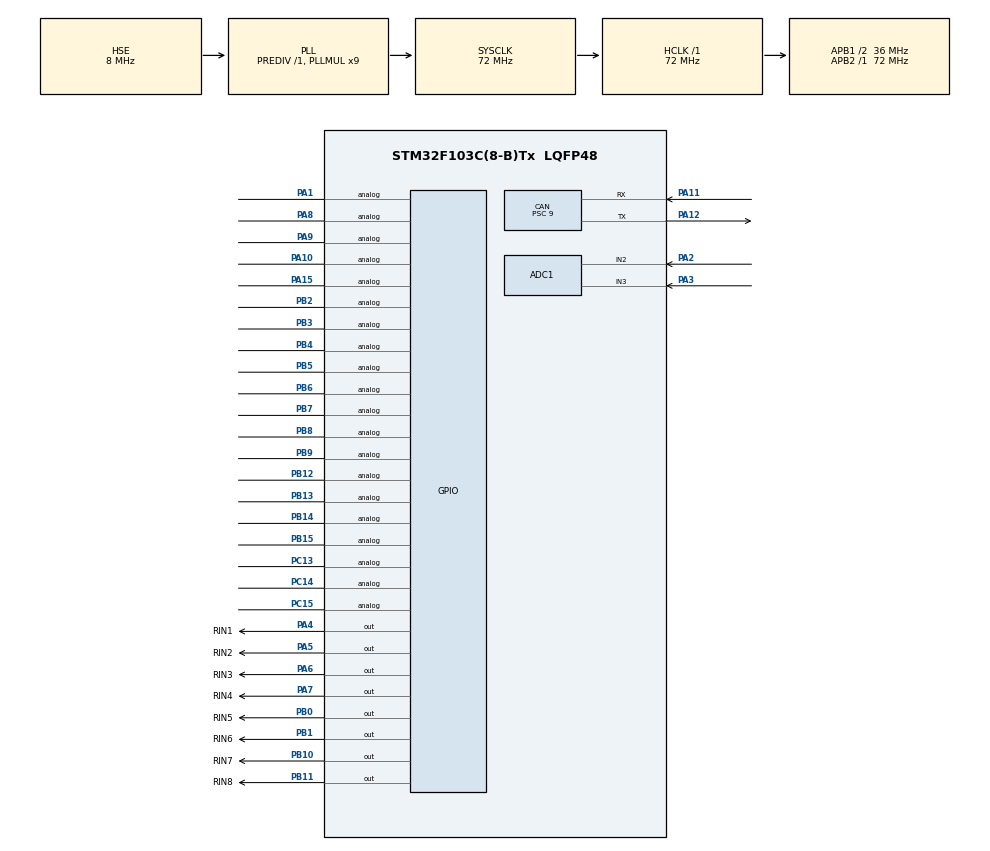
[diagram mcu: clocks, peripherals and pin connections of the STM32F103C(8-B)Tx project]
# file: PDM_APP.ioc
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ADC1.Channel-0\#ChannelRegularConversion=ADC_CHANNEL_2
ADC1.Channel-1\#ChannelRegularConversion=ADC_CHANNEL_3
ADC1.Channel-2\#ChannelRegularConversion=ADC_CHANNEL_TEMPSENSOR
ADC1.Channel-3\#ChannelRegularConversion=ADC_CHANNEL_VREFINT
ADC1.ContinuousConvMode=ENABLE
ADC1.EnableAnalogWatchDog=false
ADC1.NbrOfConversion=4
ADC1.NbrOfConversionFlag=1
ADC1.Rank-0\#ChannelRegularConversion=1
ADC1.Rank-1\#ChannelRegularConversion=2
ADC1.Rank-2\#ChannelRegularConversion=3
ADC1.Rank-3\#ChannelRegularConversion=4
ADC1.SamplingTime-0\#ChannelRegularConversion=ADC_SAMPLETIME_239CYCLES_5
ADC1.SamplingTime-1\#ChannelRegularConversion=ADC_SAMPLETIME_239CYCLES_5
ADC1.SamplingTime-2\#ChannelRegularConversion=ADC_SAMPLETIME_239CYCLES_5
ADC1.SamplingTime-3\#ChannelRegularConversion=ADC_SAMPLETIME_239CYCLES_5
ADC1.master=1
CAN.ABOM=ENABLE
CAN.AWUM=ENABLE
CAN.BS1=CAN_BS1_5TQ
CAN.BS2=CAN_BS2_2TQ
CAN.CalculateBaudRate=500000
CAN.CalculateTimeBit=2000
CAN.CalculateTimeQuantum=250.0
CAN.NART=ENABLE
CAN.Prescaler=9
CAN.RFLM=ENABLE
CAN.SJW=CAN_SJW_1TQ
CAN.TTCM=ENABLE
CAN.TXFP=ENABLE
Dma.ADC1.0.Direction=DMA_PERIPH_TO_MEMORY
Dma.ADC1.0.Instance=DMA1_Channel1
Dma.ADC1.0.MemDataAlignment=DMA_MDATAALIGN_WORD
Dma.ADC1.0.MemInc=DMA_MINC_ENABLE
Dma.ADC1.0.Mode=DMA_CIRCULAR
Dma.ADC1.0.PeriphDataAlignment=DMA_PDATAALIGN_WORD
Dma.ADC1.0.PeriphInc=DMA_PINC_DISABLE
Dma.ADC1.0.Priority=DMA_PRIORITY_VERY_HIGH
Dma.Request0=ADC1
FREERTOS.INCLUDE_eTaskGetState=1
FREERTOS.INCLUDE_pcTaskGetTaskName=1
FREERTOS.INCLUDE_uxTaskGetStackHighWaterMark=1
FREERTOS.INCLUDE_uxTaskPriorityGet=1
FREERTOS.INCLUDE_vTaskCleanUpResources=1
FREERTOS.INCLUDE_vTaskDelay=1
FREERTOS.INCLUDE_vTaskDelayUntil=1
FREERTOS.INCLUDE_vTaskDelete=1
FREERTOS.INCLUDE_vTaskPrioritySet=1
FREERTOS.INCLUDE_xEventGroupSetBitFromISR=1
FREERTOS.INCLUDE_xQueueGetMutexHolder=1
FREERTOS.INCLUDE_xSemaphoreGetMutexHolder=1
FREERTOS.INCLUDE_xTaskAbortDelay=1
FREERTOS.INCLUDE_xTaskGetCurrentTaskHandle=1
FREERTOS.INCLUDE_xTaskGetHandle=1
FREERTOS.INCLUDE_xTaskGetSchedulerState=1
FREERTOS.INCLUDE_xTaskResumeFromISR=1
FREERTOS.INCLUDE_xTimerPendFunctionCall=1
FREERTOS.Tasks01=QM_BSW_OS_TASK,53,1024,QM_BSW,Default,NULL,Dynamic,NULL,NULL;QM_APPL_OS_TASK,52,1024,QM_APPL,Default,NULL,Dynamic,NULL,NULL;CPULOAD_OS_TASK,8,128,CPULOAD,Default,NULL,Dynamic,NULL,NULL
FREERTOS.Timers01=Alarm5ms,Alarm5ms_Callback,osTimerPeriodic,Default,NULL,Dynamic,NULL
FREERTOS.configCHECK_FOR_STACK_OVERFLOW=2
FREERTOS.configGENERATE_RUN_TIME_STATS=1
FREERTOS.configIDLE_SHOULD_YIELD=1
FREERTOS.configLIBRARY_MAX_SYSCALL_INTERRUPT_PRIORITY=1
FREERTOS.configMINIMAL_STACK_SIZE=128
FREERTOS.configQUEUE_REGISTRY_SIZE=1
FREERTOS.configRECORD_STACK_HIGH_ADDRESS=1
FREERTOS.configTIMER_QUEUE_LENGTH=1
FREERTOS.configTIMER_TASK_PRIORITY=55
FREERTOS.configTIMER_TASK_STACK_DEPTH=128
FREERTOS.configTOTAL_HEAP_SIZE=10660
FREERTOS.configUSE_APPLICATION_TASK_TAG=1
FREERTOS.configUSE_CO_ROUTINES=1
FREERTOS.configUSE_DAEMON_TASK_STARTUP_HOOK=0
FREERTOS.configUSE_IDLE_HOOK=1
FREERTOS.configUSE_MALLOC_FAILED_HOOK=1
FREERTOS.configUSE_NEWLIB_REENTRANT=1
FREERTOS.configUSE_STATS_FORMATTING_FUNCTIONS=1
FREERTOS.configUSE_TICK_HOOK=1
Mcu.Family=STM32F1
Mcu.Name=STM32F103C(8-B)Tx
Mcu.Package=LQFP48
NVIC.ADC1_2_IRQn=true\:1\:0\:false\:false\:true\:true\:true\:true\:true
NVIC.CAN1_RX1_IRQn=true\:1\:0\:false\:true\:true\:10\:true\:true\:true\:true
NVIC.CAN1_SCE_IRQn=true\:1\:0\:true\:true\:true\:2\:true\:true\:true\:true
NVIC.DMA1_Channel1_IRQn=true\:2\:0\:true\:true\:true\:3\:true\:false\:true\:true
NVIC.FLASH_IRQn=true\:4\:0\:true\:true\:true\:4\:true\:true\:true\:true
NVIC.PVD_IRQn=true\:4\:0\:true\:true\:true\:5\:true\:true\:true\:true
NVIC.PriorityGroup=NVIC_PRIORITYGROUP_4
NVIC.RCC_IRQn=true\:1\:0\:false\:true\:true\:6\:true\:true\:false\:true
NVIC.TIM2_IRQn=true\:15\:0\:false\:false\:true\:false\:false\:true\:true
NVIC.TIM3_IRQn=true\:1\:0\:false\:true\:true\:1\:true\:true\:true\:true
NVIC.TimeBase=TIM2_IRQn
NVIC.TimeBaseIP=TIM2
NVIC.USB_HP_CAN1_TX_IRQn=true\:1\:0\:true\:true\:true\:9\:true\:true\:true\:true
NVIC.USB_LP_CAN1_RX0_IRQn=true\:1\:0\:true\:true\:true\:7\:true\:true\:true\:true
PA0-WKUP.Mode=SYS_WakeUp0
PA0-WKUP.Signal=SYS_WKUP
PA1.Signal=GPIO_Analog
PA10.Signal=GPIO_Analog
PA11.GPIO_PuPd=GPIO_PULLUP
PA11.Mode=CAN_Activate
PA11.Signal=CAN_RX
PA12.Mode=CAN_Activate
PA12.Signal=CAN_TX
PA13.Mode=Serial_Wire
PA13.Signal=SYS_JTMS-SWDIO
PA14.Mode=Serial_Wire
PA14.Signal=SYS_JTCK-SWCLK
PA15.Signal=GPIO_Analog
PA2.Signal=ADCx_IN2
PA3.Signal=ADCx_IN3
PA4.GPIO_Label=RIN1
PA4.GPIO_ModeDefaultOutputPP=GPIO_MODE_OUTPUT_PP
PA4.GPIO_PuPd=GPIO_PULLUP
PA4.GPIO_Speed=GPIO_SPEED_FREQ_HIGH
PA4.PinState=GPIO_PIN_SET
PA4.Signal=GPIO_Output
PA5.GPIO_Label=RIN2
PA5.GPIO_ModeDefaultOutputPP=GPIO_MODE_OUTPUT_PP
PA5.GPIO_PuPd=GPIO_PULLUP
PA5.GPIO_Speed=GPIO_SPEED_FREQ_HIGH
PA5.PinState=GPIO_PIN_SET
PA5.Signal=GPIO_Output
PA6.GPIO_Label=RIN3
PA6.GPIO_ModeDefaultOutputPP=GPIO_MODE_OUTPUT_PP
PA6.GPIO_PuPd=GPIO_PULLUP
PA6.GPIO_Speed=GPIO_SPEED_FREQ_HIGH
PA6.PinState=GPIO_PIN_SET
PA6.Signal=GPIO_Output
PA7.GPIO_Label=RIN4
PA7.GPIO_ModeDefaultOutputPP=GPIO_MODE_OUTPUT_PP
PA7.GPIO_PuPd=GPIO_PULLUP
PA7.GPIO_Speed=GPIO_SPEED_FREQ_HIGH
PA7.PinState=GPIO_PIN_SET
PA7.Signal=GPIO_Output
PA8.Signal=GPIO_Analog
PA9.Signal=GPIO_Analog
PB0.GPIO_Label=RIN5
PB0.GPIO_ModeDefaultOutputPP=GPIO_MODE_OUTPUT_PP
PB0.GPIO_PuPd=GPIO_PULLUP
PB0.GPIO_Speed=GPIO_SPEED_FREQ_HIGH
PB0.PinState=GPIO_PIN_SET
PB0.Signal=GPIO_Output
PB1.GPIO_Label=RIN6
PB1.GPIO_ModeDefaultOutputPP=GPIO_MODE_OUTPUT_PP
PB1.GPIO_PuPd=GPIO_PULLUP
PB1.GPIO_Speed=GPIO_SPEED_FREQ_HIGH
PB1.PinState=GPIO_PIN_SET
PB1.Signal=GPIO_Output
PB10.GPIO_Label=RIN7
PB10.GPIO_ModeDefaultOutputPP=GPIO_MODE_OUTPUT_PP
PB10.GPIO_PuPd=GPIO_PULLUP
PB10.GPIO_Speed=GPIO_SPEED_FREQ_HIGH
PB10.PinState=GPIO_PIN_SET
PB10.Signal=GPIO_Output
PB11.GPIO_Label=RIN8
PB11.GPIO_ModeDefaultOutputPP=GPIO_MODE_OUTPUT_PP
PB11.GPIO_PuPd=GPIO_PULLUP
PB11.GPIO_Speed=GPIO_SPEED_FREQ_HIGH
PB11.PinState=GPIO_PIN_SET
PB11.Signal=GPIO_Output
PB12.Signal=GPIO_Analog
PB13.Signal=GPIO_Analog
PB14.Signal=GPIO_Analog
PB15.Signal=GPIO_Analog
PB2.Signal=GPIO_Analog
PB3.Signal=GPIO_Analog
PB4.Signal=GPIO_Analog
PB5.Signal=GPIO_Analog
PB6.Signal=GPIO_Analog
PB7.Signal=GPIO_Analog
PB8.Signal=GPIO_Analog
PB9.Signal=GPIO_Analog
PC13-TAMPER-RTC.Signal=GPIO_Analog
PC14-OSC32_IN.Signal=GPIO_Analog
PC15-OSC32_OUT.Signal=GPIO_Analog
PD0-OSC_IN.Mode=HSE-External-Oscillator
PD0-OSC_IN.Signal=RCC_OSC_IN
PD1-OSC_OUT.Mode=HSE-External-Oscillator
PD1-OSC_OUT.Signal=RCC_OSC_OUT
ProjectManager.HeapSize=0x300
ProjectManager.StackSize=0x500
ProjectManager.TargetToolchain=STM32CubeIDE
RCC.ADCPresc=RCC_ADCPCLK2_DIV6
RCC.AHBFreq_Value=72000000
RCC.APB1CLKDivider=RCC_HCLK_DIV2
RCC.APB1Freq_Value=36000000
RCC.APB1TimFreq_Value=72000000
RCC.APB2Freq_Value=72000000
RCC.APB2TimFreq_Value=72000000
RCC.HCLKFreq_Value=72000000
RCC.PLLMUL=RCC_PLL_MUL9
RCC.PLLSourceVirtual=RCC_PLLSOURCE_HSE
RCC.SYSCLKFreq_VALUE=72000000
RCC.SYSCLKSource=RCC_SYSCLKSOURCE_PLLCLK
RCC.USBFreq_Value=72000000
SH.ADCx_IN2.0=ADC1_IN2,IN2
SH.ADCx_IN3.0=ADC1_IN3,IN3
TIM3.Period=999
TIM3.Prescaler=99
VP_ADC1_TempSens_Input.Mode=IN-TempSens
VP_ADC1_Vref_Input.Mode=IN-Vrefint
VP_FREERTOS_VS_CMSIS_V2.Mode=CMSIS_V2
VP_SYS_VS_tim2.Mode=TIM2
VP_TIM3_VS_ClockSourceINT.Mode=Internal
board=custom

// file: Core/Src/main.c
/* USER CODE BEGIN Header */
/* USER CODE END Header */
#include "main.h"
#include "cmsis_os.h"
#include "adc.h"
#include "can.h"
#include "dma.h"
#include "tim.h"
#include "gpio.h"

/* USER CODE BEGIN Includes */
#include "EcuM.h"
/* USER CODE END Includes */

void SystemClock_Config(void);
void MX_FREERTOS_Init(void);
static void MX_NVIC_Init(void);

int main(void)
{

  /* MCU Configuration--------------------------------------------------------*/

  /* Reset of all peripherals, Initializes the Flash interface and the Systick. */
  HAL_Init();

  /* Configure the system clock */
  SystemClock_Config();

  /* Initialize all configured peripherals */
  MX_GPIO_Init();
  MX_DMA_Init();
  MX_ADC1_Init();
  MX_CAN_Init();
  MX_TIM3_Init();

  /* Initialize interrupts */
  MX_NVIC_Init();
  /* USER CODE BEGIN 2 */
	__enable_irq(); // manually enable interrupts, because they had to be disabled in FBL for some unknow reason... stm32f103c8t6 things...
  /* USER CODE END 2 */

  /* Init scheduler */
  osKernelInitialize();

  /* Call init function for freertos objects (in cmsis_os2.c) */
  MX_FREERTOS_Init();

  /* Start scheduler */
  osKernelStart();

  /* We should never get here as control is now taken by the scheduler */

  /* Infinite loop */
  /* USER CODE BEGIN WHILE */
	EcuM_PerformReset(1);
	while (1)
	{
    /* USER CODE END WHILE */

	}
}

void SystemClock_Config(void)
{
  RCC_OscInitTypeDef RCC_OscInitStruct = {0};
  RCC_ClkInitTypeDef RCC_ClkInitStruct = {0};
  RCC_PeriphCLKInitTypeDef PeriphClkInit = {0};

  /** Initializes the RCC Oscillators according to the specified parameters
  * in the RCC_OscInitTypeDef structure.
  */
  RCC_OscInitStruct.OscillatorType = RCC_OSCILLATORTYPE_HSE;
  RCC_OscInitStruct.HSEState = RCC_HSE_ON;
  RCC_OscInitStruct.HSEPredivValue = RCC_HSE_PREDIV_DIV1;
  RCC_OscInitStruct.HSIState = RCC_HSI_ON;
  RCC_OscInitStruct.PLL.PLLState = RCC_PLL_ON;
  RCC_OscInitStruct.PLL.PLLSource = RCC_PLLSOURCE_HSE;
  RCC_OscInitStruct.PLL.PLLMUL = RCC_PLL_MUL9;
  if (HAL_RCC_OscConfig(&RCC_OscInitStruct) != HAL_OK)
  {
    Error_Handler();
  }

  /** Initializes the CPU, AHB and APB buses clocks
  */
  RCC_ClkInitStruct.ClockType = RCC_CLOCKTYPE_HCLK|RCC_CLOCKTYPE_SYSCLK
                              |RCC_CLOCKTYPE_PCLK1|RCC_CLOCKTYPE_PCLK2;
  RCC_ClkInitStruct.SYSCLKSource = RCC_SYSCLKSOURCE_PLLCLK;
  RCC_ClkInitStruct.AHBCLKDivider = RCC_SYSCLK_DIV1;
  RCC_ClkInitStruct.APB1CLKDivider = RCC_HCLK_DIV2;
  RCC_ClkInitStruct.APB2CLKDivider = RCC_HCLK_DIV1;

  if (HAL_RCC_ClockConfig(&RCC_ClkInitStruct, FLASH_LATENCY_2) != HAL_OK)
  {
    Error_Handler();
  }
  PeriphClkInit.PeriphClockSelection = RCC_PERIPHCLK_ADC;
  PeriphClkInit.AdcClockSelection = RCC_ADCPCLK2_DIV6;
  if (HAL_RCCEx_PeriphCLKConfig(&PeriphClkInit) != HAL_OK)
  {
    Error_Handler();
  }
}

/**
  * @brief NVIC Configuration.
  * @retval None
  */
static void MX_NVIC_Init(void)
{
  /* TIM3_IRQn interrupt configuration */
  HAL_NVIC_SetPriority(TIM3_IRQn, 1, 0);
  HAL_NVIC_EnableIRQ(TIM3_IRQn);
  /* CAN1_SCE_IRQn interrupt configuration */
  HAL_NVIC_SetPriority(CAN1_SCE_IRQn, 1, 0);
  HAL_NVIC_EnableIRQ(CAN1_SCE_IRQn);
  /* DMA1_Channel1_IRQn interrupt configuration */
  HAL_NVIC_SetPriority(DMA1_Channel1_IRQn, 2, 0);
  HAL_NVIC_EnableIRQ(DMA1_Channel1_IRQn);
  /* FLASH_IRQn interrupt configuration */
  HAL_NVIC_SetPriority(FLASH_IRQn, 4, 0);
  HAL_NVIC_EnableIRQ(FLASH_IRQn);
  /* PVD_IRQn interrupt configuration */
  HAL_NVIC_SetPriority(PVD_IRQn, 4, 0);
  HAL_NVIC_EnableIRQ(PVD_IRQn);
  /* RCC_IRQn interrupt configuration */
  HAL_NVIC_SetPriority(RCC_IRQn, 1, 0);
  HAL_NVIC_EnableIRQ(RCC_IRQn);
  /* USB_LP_CAN1_RX0_IRQn interrupt configuration */
  HAL_NVIC_SetPriority(USB_LP_CAN1_RX0_IRQn, 1, 0);
  HAL_NVIC_EnableIRQ(USB_LP_CAN1_RX0_IRQn);
  /* USB_HP_CAN1_TX_IRQn interrupt configuration */
  HAL_NVIC_SetPriority(USB_HP_CAN1_TX_IRQn, 1, 0);
  HAL_NVIC_EnableIRQ(USB_HP_CAN1_TX_IRQn);
  /* CAN1_RX1_IRQn interrupt configuration */
  HAL_NVIC_SetPriority(CAN1_RX1_IRQn, 1, 0);
  HAL_NVIC_EnableIRQ(CAN1_RX1_IRQn);
}

void HAL_TIM_PeriodElapsedCallback(TIM_HandleTypeDef *htim)
{
  if (htim->Instance == TIM2) {
    HAL_IncTick();
  }
}

void Error_Handler(void)
{
  /* USER CODE BEGIN Error_Handler_Debug */
	EcuM_PerformReset(7);
  /* USER CODE END Error_Handler_Debug */
}

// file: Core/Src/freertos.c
/* USER CODE BEGIN Header */
/* USER CODE END Header */

#include "FreeRTOS.h"
#include "task.h"
#include "main.h"
#include "cmsis_os.h"

/* USER CODE BEGIN Includes */
#include "LoadCtrl.h"
#include "CanH.h"
#include "Ain.h"
#include "EcuM.h"
#include "Nvm.h"
#include "Dcm.h"
/* USER CODE END Includes */

/* USER CODE BEGIN PTD */
uint8 OS_IdleIndex = 0;
uint8 OS_XCP_CpuLoad = 0;
float OS_IdleRunTime = 0;
float OS_DeltaIdleRunTime = 0;
float OS_CpuLoad = 0;
TaskStatus_t xTaskStatusArray[5] = {0};
UBaseType_t uxArraySize = {0};
uint32 OS_AverageCpuLoad = 0;
uint32 ulTotalRunTime = {0};
uint32 localTaskCounter = 0;
long long OS_Counter = 0;
long long IDLE_Counter = 0;
volatile unsigned long ulHighFrequencyTimerTicks;
extern uint8 EcuM_State;
extern TIM_HandleTypeDef htim3;
/* USER CODE END PTD */

/* Definitions for QM_BSW_OS_TASK */
osThreadId_t QM_BSW_OS_TASKHandle;
const osThreadAttr_t QM_BSW_OS_TASK_attributes = {
  .name = "QM_BSW_OS_TASK",
  .stack_size = 1024 * 4,
  .priority = (osPriority_t) osPriorityRealtime5,
};
/* Definitions for QM_APPL_OS_TASK */
osThreadId_t QM_APPL_OS_TASKHandle;
const osThreadAttr_t QM_APPL_OS_TASK_attributes = {
  .name = "QM_APPL_OS_TASK",
  .stack_size = 1024 * 4,
  .priority = (osPriority_t) osPriorityRealtime4,
};
/* Definitions for CPULOAD_OS_TASK */
osThreadId_t CPULOAD_OS_TASKHandle;
const osThreadAttr_t CPULOAD_OS_TASK_attributes = {
  .name = "CPULOAD_OS_TASK",
  .stack_size = 128 * 4,
  .priority = (osPriority_t) osPriorityLow,
};
/* Definitions for Alarm5ms */
osTimerId_t Alarm5msHandle;
const osTimerAttr_t Alarm5ms_attributes = {
  .name = "Alarm5ms"
};

void QM_BSW(void *argument);
void QM_APPL(void *argument);
void CPULOAD(void *argument);
void Alarm5ms_Callback(void *argument);

void MX_FREERTOS_Init(void); /* (MISRA C 2004 rule 8.1) */

/* Hook prototypes */
void configureTimerForRunTimeStats(void);
unsigned long getRunTimeCounterValue(void);
void vApplicationIdleHook(void);
void vApplicationTickHook(void);
void vApplicationStackOverflowHook(xTaskHandle xTask, signed char *pcTaskName);
void vApplicationMallocFailedHook(void);

/* USER CODE BEGIN 1 */
void configureTimerForRunTimeStats(void)
{
	ulHighFrequencyTimerTicks = 0;
	HAL_TIM_Base_Start_IT(&htim3);
}
unsigned long getRunTimeCounterValue(void)
{
	return ulHighFrequencyTimerTicks;
}
/* USER CODE END 1 */

/* USER CODE BEGIN 2 */
void vApplicationIdleHook( void )
{
	IDLE_Counter++;
	uxArraySize = uxTaskGetSystemState(xTaskStatusArray, 5, &ulTotalRunTime);
}
/* USER CODE END 2 */

/* USER CODE BEGIN 3 */
void vApplicationTickHook( void )
{
	OS_Counter++;
}
/* USER CODE END 3 */

/* USER CODE BEGIN 4 */
void vApplicationStackOverflowHook(xTaskHandle xTask, signed char *pcTaskName)
{
	EcuM_PerformReset(12);
}
/* USER CODE END 4 */

/* USER CODE BEGIN 5 */
void vApplicationMallocFailedHook(void)
{
	EcuM_PerformReset(11);
}
/* USER CODE END 5 */

void MX_FREERTOS_Init(void) {

  /* Create the timer(s) */
  /* creation of Alarm5ms */
  Alarm5msHandle = osTimerNew(Alarm5ms_Callback, osTimerPeriodic, NULL, &Alarm5ms_attributes);

  /* Create the thread(s) */
  /* creation of QM_BSW_OS_TASK */
  QM_BSW_OS_TASKHandle = osThreadNew(QM_BSW, NULL, &QM_BSW_OS_TASK_attributes);

  /* creation of QM_APPL_OS_TASK */
  QM_APPL_OS_TASKHandle = osThreadNew(QM_APPL, NULL, &QM_APPL_OS_TASK_attributes);

  /* creation of CPULOAD_OS_TASK */
  CPULOAD_OS_TASKHandle = osThreadNew(CPULOAD, NULL, &CPULOAD_OS_TASK_attributes);

  /* USER CODE BEGIN RTOS_EVENTS */
	osTimerStart(Alarm5msHandle, 5);
  /* USER CODE END RTOS_EVENTS */

}

void QM_BSW(void *argument)
{
  /* USER CODE BEGIN QM_BSW */
	for(;;)
	{
		NvM_MainFunction();
		CanH_MainFunction();
		Dcm_MainFunction();
		Ain_MainFunction();
		EcuM_MainFunction();
		vTaskSuspend(NULL); /* suspend task; will be re-activated in OS timer callback. */
	}
  /* USER CODE END QM_BSW */
}

void QM_APPL(void *argument)
{
  /* USER CODE BEGIN QM_APPL */
	for(;;)
	{
		if(EcuM_State == 1) LoadCtrl_MainFunction(); /* Execute load control only in SW RUN. */
		else
		{
			/* Do nothing. */
		}
		vTaskSuspend(NULL);
	}
  /* USER CODE END QM_APPL */
}

void CPULOAD(void *argument)
{
  /* USER CODE BEGIN CPULOAD */
	for(;;)
	{
		localTaskCounter++;
		OS_DeltaIdleRunTime = xTaskStatusArray[OS_IdleIndex].ulRunTimeCounter - OS_IdleRunTime;
		if(0 != ulHighFrequencyTimerTicks)
		{
			OS_CpuLoad = 100 - (OS_DeltaIdleRunTime / ulHighFrequencyTimerTicks) * 100;
		}
		else
		{
			/* Do nothing. */
		}
		OS_AverageCpuLoad += OS_CpuLoad;
		ulHighFrequencyTimerTicks = 0;
		OS_IdleRunTime = xTaskStatusArray[OS_IdleIndex].ulRunTimeCounter;
		if(localTaskCounter % 12 == 0)
		{
			OS_XCP_CpuLoad = OS_AverageCpuLoad / 12; /* Calculate CPU load value every 480 milliseconds. */
			OS_AverageCpuLoad = 0;
		}
		else
		{
			/* Do nothing. */
		}
		vTaskSuspend(NULL);
	}
  /* USER CODE END CPULOAD */
}

/* Alarm5ms_Callback function */
void Alarm5ms_Callback(void *argument)
{
  /* USER CODE BEGIN Alarm5ms_Callback */
	static uint32 counter = 0;
	counter++;
	vTaskResume(QM_APPL_OS_TASKHandle);
	vTaskResume(QM_BSW_OS_TASKHandle); /* I could have used event functionality of FreeRTOS to re-activate tasks. I did that on DMU, but here
	it was not possible, RAM and ROM were scarce (close to 100%). */
	if(counter % 8 == 0 && counter != 0) vTaskResume(CPULOAD_OS_TASKHandle); /* Resources are scarce, must use this approach instead of another OS timer that expires every 40 milliseconds. */
	else
	{
		/* Do nothing. */
	}
  /* USER CODE END Alarm5ms_Callback */
}
